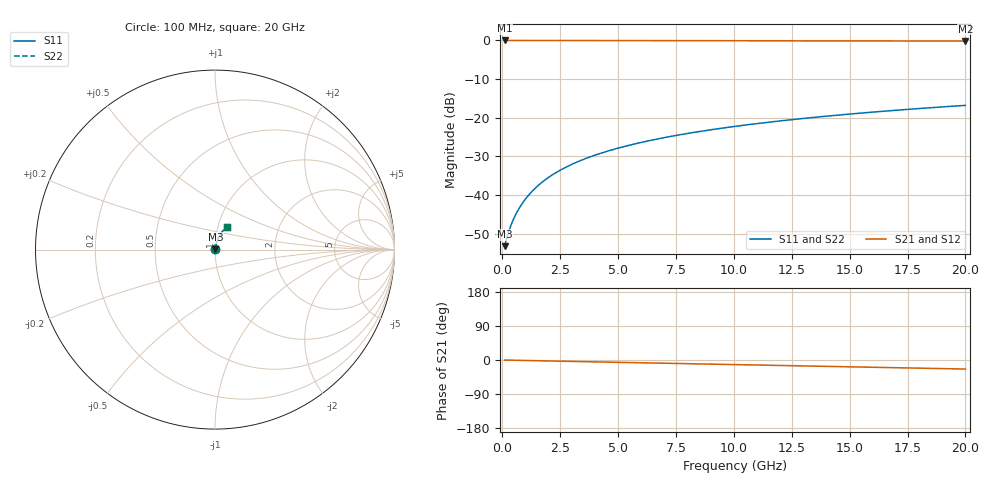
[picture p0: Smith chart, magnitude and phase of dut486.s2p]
! Touchstone file exported from HFSS 2026.1.0
!  File:  C:/ffzhzh/LocalFiles/Ansys_Project_Files/temp_train_TMRDL_486_1783006471_4048.aedt
!  Generated:  11:35:51 PM Jul  2, 2026
!  Design:  TMRDL
!  Project:  temp_train_TMRDL_486_1783006471_4048
! Variables:
!  h_bsmrdl = 2um
!  h_ox = 20um
!  h_rdl = 5um
!  h_sub = 80um
!  h_tmrdl = 4.76um
!  h_tsv = 80um
!  h_via = 3um
!  l_bsmrdl = 300um
!  l_sub = 792.26um
!  l_tmrdl = 392.26um
!  m_sub = 200um
!  pitch = 27.11um
!  r_tsv = 6um
!  s_tmrdl = 10um
!  w_bsmrdl = 18um
!  w_sub = 500um
!  w_tmrdl = 16.42um
!  x_tsv_center1 = 400.47um
!  x_tsv_center2 = 718.47um
!  x_tsv_center3 = 1127.15um
!  x_tsv_center4 = 1445.15um
!  x_tsv_center5 = 1853.83um
!  x_tsv_center6 = 2171.83um
# GHz S MA R 50.000000
! Terminal data exported
! Port[1] = TM_RDL1_1_T1
! Port[2] = TM_RDL1_1_T2
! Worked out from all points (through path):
!   200 points, 100 MHz to 20 GHz, reference 50 ohm
!   highest |S21| = -0.02 dB at 100 MHz (marker M1); lowest = -0.2 dB at 20 GHz (marker M2)
!   group delay of S21, straight-line fit = 3.3 ps
!   lowest |S11| = -53.2 dB at 100 MHz (marker M3), VSWR 1.00, Z = 50.2 + j0.101 ohm
!   |S11| at or under -10 dB: start of sweep to end of sweep
!   |S22| runs from -53.2 to -16.8 dB; largest |S21 - S12| = 2.3e-15
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0.1  0.002177 27.5  0.9981 -0.1  0.9981 -0.1  0.002177 27.5
! Gamma 0 0 0 0
! Port Impedance 50 0 50 0
0.2  0.002821 43.0  0.9979 -0.3  0.9979 -0.3  0.002821 43.0
0.3  0.003528 51.7  0.9978 -0.4  0.9978 -0.4  0.003528 51.7
0.4  0.004249 57.5  0.9977 -0.5  0.9977 -0.5  0.004248 57.5
0.5  0.004984 61.7  0.9977 -0.6  0.9977 -0.6  0.004983 61.7
0.6  0.005734 64.9  0.9976 -0.8  0.9976 -0.8  0.005734 64.9
0.8  0.007275 69.4  0.9975 -1.0  0.9975 -1.0  0.007275 69.4
1  0.008852 72.3  0.9974 -1.3  0.9974 -1.3  0.008852 72.3
1.2  0.01045 74.2  0.9973 -1.5  0.9973 -1.5  0.01045 74.2
1.4  0.01206 75.6  0.9972 -1.8  0.9972 -1.8  0.01206 75.6
1.7  0.01448 76.8  0.9971 -2.1  0.9971 -2.1  0.01448 76.8
2.2  0.01851 77.9  0.9968 -2.7  0.9968 -2.7  0.01851 77.9
2.8  0.02331 78.3  0.9964 -3.5  0.9964 -3.5  0.02331 78.3
3.5  0.02883 78.2  0.9958 -4.3  0.9958 -4.3  0.02883 78.2
4.2  0.03426 77.8  0.9953 -5.2  0.9953 -5.2  0.03426 77.8
5  0.04037 77.2  0.9946 -6.2  0.9946 -6.2  0.04037 77.2
6.8  0.05378 75.7  0.9929 -8.3  0.9929 -8.3  0.05378 75.7
8.3  0.06469 74.2  0.9915 -10.1  0.9915 -10.1  0.06469 74.2
10.1  0.07754 72.5  0.9899 -12.2  0.9899 -12.2  0.07754 72.5
13.4  0.1005 69.2  0.9867 -16.1  0.9867 -16.1  0.1005 69.2
16.7  0.1228 65.7  0.9833 -20.0  0.9833 -20.0  0.1228 65.7
20  0.1443 62.2  0.9796 -23.8  0.9796 -23.8  0.1443 62.2
